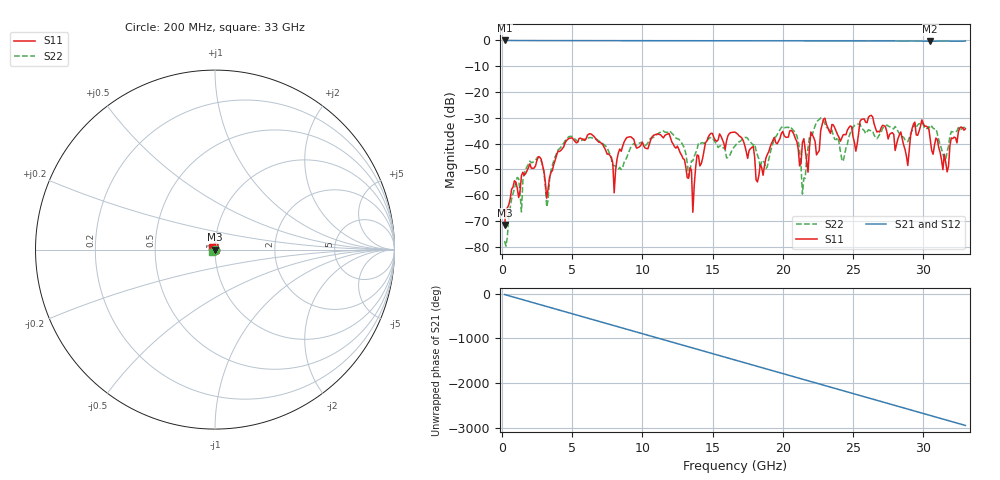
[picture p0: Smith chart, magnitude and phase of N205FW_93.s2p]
# GHZ S RI R 50
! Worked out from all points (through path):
!   329 points, 200 MHz to 33 GHz, reference 50 ohm
!   highest |S21| = -0.02 dB at 200 MHz (marker M1); lowest = -0.3 dB at 30.5 GHz (marker M2)
!   group delay of S21, straight-line fit = 248 ps
!   lowest |S11| = -71.5 dB at 200 MHz (marker M3), VSWR 1.00, Z = 50 + j0.00608 ohm
!   |S11| at or under -10 dB: start of sweep to end of sweep
!   |S22| runs from -79.7 to -30.0 dB; largest |S21 - S12| = 0.0022
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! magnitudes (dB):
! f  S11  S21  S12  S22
! 200 MHz  -71.5  0.0  0.0  -77.7
! 1.1 GHz  -57.2  0.0  0.0  -53.1
! 1.4 GHz  -52.4  -0.1  -0.1  -66.4
! 2.7 GHz  -45.2  -0.1  -0.1  -45.5
! 3.2 GHz  -61.1  -0.1  -0.1  -64.5
! 4 GHz  -43.0  -0.1  -0.1  -42.4
! 5.7 GHz  -38.2  -0.1  -0.1  -38.7
! 8 GHz  -59.0  -0.1  -0.1  -48.5
! 8.9 GHz  -37.6  -0.1  -0.1  -45.2
! 11.2 GHz  -36.4  -0.2  -0.2  -35.8
! 13.5 GHz  -50.3  -0.1  -0.1  -46.7
! 13.6 GHz  -66.6  -0.2  -0.2  -46.7
! 13.9 GHz  -44.4  -0.1  -0.2  -42.1
! 16.6 GHz  -35.5  -0.2  -0.2  -40.9
! 18.2 GHz  -54.8  -0.2  -0.2  -44.5
! 20.5 GHz  -35.0  -0.2  -0.2  -33.3
! 21.4 GHz  -39.6  -0.2  -0.2  -59.5
! 22.1 GHz  -36.5  -0.2  -0.2  -36.6
! 27.6 GHz  -36.5  -0.2  -0.2  -33.5
! 30.5 GHz  -38.3  -0.3  -0.3  -34.2
! 31.7 GHz  -50.9  -0.3  -0.3  -43.1
! 33 GHz  -34.2  -0.2  -0.2  -34.0
